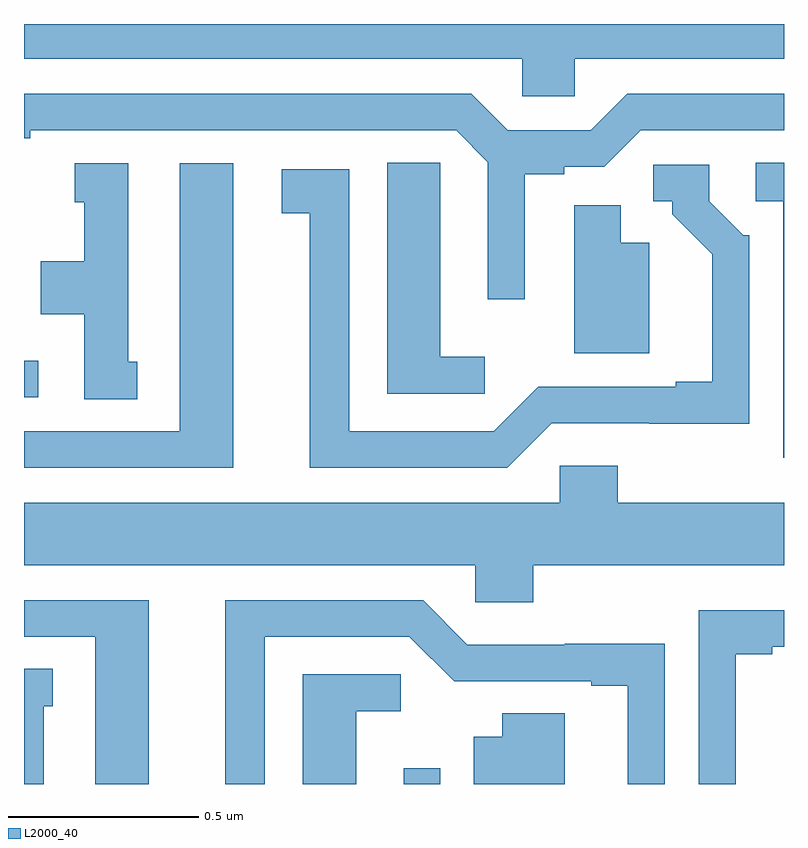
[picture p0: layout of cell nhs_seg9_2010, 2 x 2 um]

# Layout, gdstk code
import gdstk
lib = gdstk.Library(unit=1e-6, precision=1e-09)
def R(c, l, rs):  # rectangles x0, y0, x1, y1
    for r in rs: c.add(gdstk.rectangle(r[:2], r[2:], *l))
def P(c, l, *ps):  # polygons
    for p in ps: c.add(gdstk.Polygon(p, *l))
L2000_40 = (2000, 40)

nhs_seg9_2010 = lib.new_cell('nhs_seg9_2010')
R(nhs_seg9_2010, L2000_40, [(135.999,1206.5,136.095,1206.541), (135,1207.518,135.037,1207.614)])
P(nhs_seg9_2010, L2000_40, [(136.449,1208.408),(137,1208.408),(137,1208.5),(135,1208.5),(135,1208.408),(136.311,1208.408),(136.311,1208.31),(136.449,1208.31)],
  [(136.318,1208.104),(136.422,1208.104),(136.422,1208.124),(136.527,1208.124),(136.623,1208.22),(137,1208.22),(137,1208.316),(136.587,1208.316),(136.491,1208.22),(136.273,1208.22),(136.177,1208.316),(135,1208.316),(135,1208.2),(135.016,1208.2),(135.016,1208.22),(136.137,1208.22),(136.221,1208.136),(136.221,1207.776),(136.318,1207.776)],
  [(137,1208.135),(136.926,1208.135),(136.926,1208.034),(136.998,1208.034),(136.998,1207.359),(137,1207.359)],
  [(136.213,1207.624),(136.096,1207.624),(136.096,1208.027),(136.095,1208.027),(136.095,1208.135),(135.956,1208.135),(135.956,1207.527),(136.213,1207.527)],
  [(135.298,1207.611),(135.274,1207.611),(135.274,1208.134),(135.134,1208.134),(135.134,1208.031),(135.158,1208.031),(135.158,1207.876),(135.044,1207.876),(135.044,1207.736),(135.158,1207.736),(135.158,1207.513),(135.298,1207.513)],
  [(135.55,1208.134),(135.41,1208.134),(135.41,1207.428),(135,1207.428),(135,1207.332),(135.55,1207.332)],
  [(136.389,1207.449),(136.645,1207.449),(136.645,1207.448),(136.908,1207.448),(136.908,1207.944),(136.893,1207.944),(136.803,1208.034),(136.803,1208.13),(136.656,1208.13),(136.656,1208.034),(136.706,1208.034),(136.706,1207.999),(136.811,1207.894),(136.811,1207.558),(136.715,1207.558),(136.715,1207.545),(136.353,1207.545),(136.236,1207.428),(135.856,1207.428),(135.856,1208.118),(135.678,1208.118),(135.678,1208.002),(135.752,1208.002),(135.752,1207.332),(136.272,1207.332)],
  [(136.645,1207.924),(136.57,1207.924),(136.57,1208.023),(136.448,1208.023),(136.448,1207.634),(136.645,1207.634)],
  [(136.34,1207.076),(137,1207.076),(137,1207.24),(136.562,1207.24),(136.562,1207.338),(136.41,1207.338),(136.41,1207.24),(135,1207.24),(135,1207.076),(136.188,1207.076),(136.188,1206.978),(136.34,1206.978)],
  [(135.634,1206.888),(136.014,1206.888),(136.132,1206.77),(136.228,1206.77),(136.228,1206.771),(136.493,1206.771),(136.493,1206.759),(136.589,1206.759),(136.589,1206.5),(136.686,1206.5),(136.686,1206.869),(136.423,1206.869),(136.423,1206.867),(136.167,1206.867),(136.05,1206.984),(135.53,1206.984),(135.53,1206.5),(135.634,1206.5)],
  [(135.328,1206.984),(135,1206.984),(135,1206.888),(135.188,1206.888),(135.188,1206.5),(135.328,1206.5)],
  [(136.873,1206.841),(136.969,1206.841),(136.969,1206.861),(137,1206.861),(137,1206.957),(136.776,1206.957),(136.776,1206.5),(136.873,1206.5)],
  [(135.052,1206.705),(135.076,1206.705),(135.076,1206.803),(135,1206.803),(135,1206.5),(135.052,1206.5)],
  [(135.874,1206.692),(135.991,1206.692),(135.991,1206.789),(135.734,1206.789),(135.734,1206.5),(135.874,1206.5)],
  [(136.423,1206.686),(136.259,1206.686),(136.259,1206.625),(136.184,1206.625),(136.184,1206.5),(136.423,1206.5)])

lib.write_gds('nhs_seg9_2010.gds')
